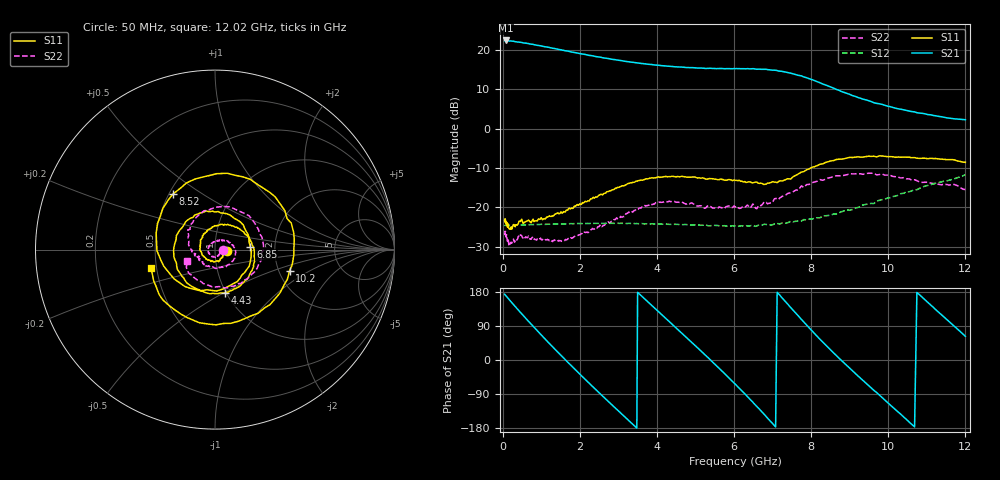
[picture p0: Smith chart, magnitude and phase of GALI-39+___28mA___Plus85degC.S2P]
! Mini-Circuits
! S2P DATA File Format
! Type: MMIC Amplifier
! Model: GALI-39  Reference Data:RDF-1232
! Note: All S Parameters are in dB deg format
! TEST CONDITIONS: INPUT POWER = -25dBm, Icc = 28mA, Vd = 3.44V @Temperature = +85degC
! 401 Frequency points
# MHz S DB R 50
!  FREQ  dB(S11)  PHS(S11)  dB(S21)  PHS(S21)  dB(S12)  PHS(S12)  dB(S22)  PHS(S22)
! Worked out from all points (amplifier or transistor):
!   401 points, 50 MHz to 12.02 GHz, reference 50 ohm
!   highest |S21| = 22.4 dB at 74 MHz (marker M1)
!   |S21| within 3 dB of that: start of sweep to 1.822 GHz
!   unconditionally stable (mu >= 1): start of sweep to end of sweep
!   at 965 MHz: K = 1.07, MAG = 21.1 dB, |S12| = -24.4 dB
!   at 3.31 GHz: K = 1.30, MAG = 17.2 dB, |S12| = -24.1 dB
!   at 12.02 GHz: K = 1.42, MAG = 3.2 dB, |S12| = -11.7 dB
!   S11 on the Smith chart (normalised r, x): 50 MHz: 1.14, -0.02; 4.43 GHz: 0.99, -0.51; 6.85 GHz: 1.49, +0.05; 8.52 GHz: 0.52, +0.38; 10.2 GHz: 2.29, -0.66; 12.02 GHz: 0.46, -0.11
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50  -23.41 -5.6  22.34 173.4  -24.56 -3.8  -26.55 -6.0
74  -23.28 -10.0  22.40 170.7  -24.56 -5.3  -26.22 -10.8
440  -23.48 -66.8  21.94 127.9  -24.54 -28.9  -27.49 -81.5
810  -23.63 -113.0  21.34 86.7  -24.40 -53.8  -28.28 -139.1
1420  -21.43 178.1  20.23 21.9  -24.23 -95.9  -28.40 144.9
2050  -19.19 114.9  18.98 -41.8  -24.12 -140.3  -26.68 87.0
2540  -16.73 75.3  18.14 -89.9  -24.05 -175.7  -24.38 64.1
3135  -14.55 29.0  17.16 -146.6  -24.07 139.9  -22.34 37.8
3575  -13.12 -4.3  16.61 172.0  -24.16 106.9  -20.15 17.9
4050  -12.26 -42.7  16.08 127.5  -24.23 69.7  -18.64 -8.3
4430  -12.16 -77.0  15.77 92.0  -24.30 39.1  -18.55 -30.9
5270  -12.82 -159.6  15.28 12.3  -24.46 -33.8  -20.21 -80.8
6040  -13.14 116.0  15.24 -63.5  -24.73 -104.8  -19.94 -127.3
6430  -13.55 66.3  15.18 -104.0  -24.72 -142.4  -20.19 -148.6
6850  -14.09 4.3  15.06 -150.0  -24.37 174.4  -18.75 -167.9
7540  -12.27 -109.8  13.93 132.0  -23.70 105.6  -16.07 160.6
8040  -9.80 -179.0  12.43 76.6  -22.97 56.9  -13.74 124.0
8520  -8.22 127.2  10.56 26.4  -21.97 12.4  -12.42 84.4
9220  -7.17 63.5  7.94 -41.1  -20.07 -49.2  -11.50 29.9
10060  -7.12 -4.0  5.59 -118.0  -17.55 -122.3  -11.86 -28.1
10200  -7.29 -15.8  5.20 -130.6  -17.16 -133.8  -12.22 -37.9
12020  -8.57 -164.0  2.26 62.4  -11.72 70.2  -15.52 -158.1
